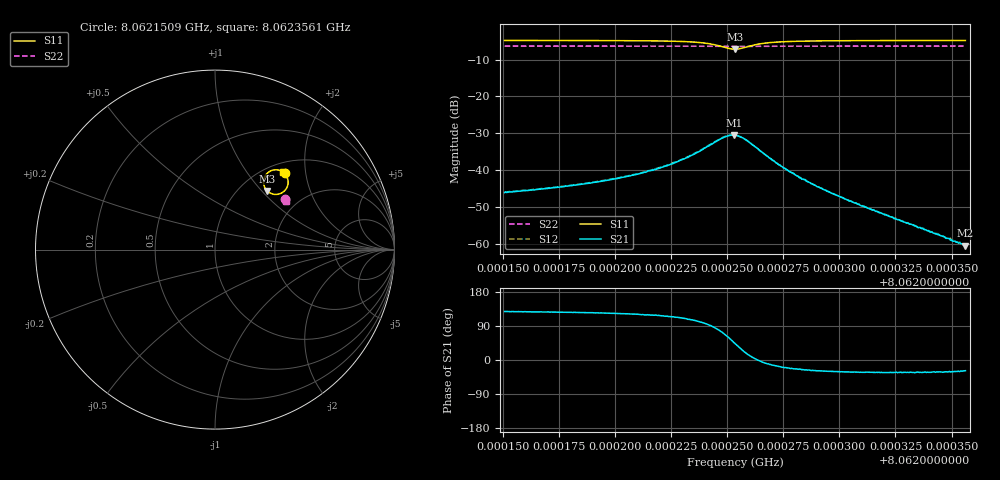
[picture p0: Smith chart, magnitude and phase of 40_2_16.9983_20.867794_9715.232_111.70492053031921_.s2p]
#  HZ  S  RI  R  50.00
! Rohde & Schwarz Vector Network Analyzer
! Rohde-Schwarz,ZNB20-2Port,1311601062101988,3.16
! Created: UTC 3/20/2024, 10:53:51 PM
! freq[Hz]  re:S11  im:S11  re:S21  im:S21  re:S12  im:S12  re:S22  im:S22
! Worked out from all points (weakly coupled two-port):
!   401 points, 8.0621509 GHz to 8.0623561 GHz, reference 50 ohm
!   highest |S21| = -30.51 dB at 8.062253 GHz (marker M1); lowest = -60.5 dB at 8.0623561 GHz (marker M2)
!   lowest |S11| = -7.2 dB at 8.0622535 GHz (marker M3), VSWR 2.56, Z = 66.5 + j53.6 ohm
!   |S11| at or under -10 dB: nowhere
!   |S22| runs from -6.5 to -6.3 dB; largest |S21 - S12| = 0.0025
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8.06215087e9  0.3885 0.4242  -0.00304 0.0039  -0.00285 0.00415  0.3908 0.2822
8.06216216e9  0.3904 0.4221  -0.00324 0.00423  -0.00301 0.00444  0.3912 0.2815
8.06218525e9  0.3945 0.4168  -0.00371 0.00525  -0.00344 0.00554  0.392 0.2801
8.06220475e9  0.3995 0.4086  -0.00431 0.00688  -0.00395 0.00723  0.3928 0.2788
8.06221964e9  0.4046 0.3966  -0.00492 0.00927  -0.00438 0.00987  0.3932 0.2776
8.06222374e9  0.4059 0.3911  -0.00486 0.0106  -0.00429 0.011  0.3932 0.2771
8.06223195e9  0.4076 0.3751  -0.00475 0.0139  -0.00392 0.0144  0.3934 0.276
8.0622417e9  0.3963 0.3385  -0.00115 0.0211  0.000347 0.0216  0.3927 0.2742
8.06224889e9  0.346 0.3078  0.0106 0.026  0.0128 0.0255  0.3902 0.2735
8.06225299e9  0.2971 0.3218  0.0206 0.0215  0.0222 0.02  0.3887 0.2746
8.06225351e9  0.2917 0.3263  0.0216 0.0205  0.0232 0.0187  0.3884 0.2748
8.06225556e9  0.2762 0.3482  0.024 0.0152  0.0253 0.0134  0.3882 0.2758
8.06225813e9  0.2703 0.3784  0.0245 0.00874  0.025 0.00684  0.3887 0.2771
8.06226172e9  0.2797 0.4107  0.0215 0.00217  0.0216 0.000623  0.3897 0.2781
8.06226582e9  0.2979 0.431  0.0171 -0.00179  0.017 -0.00279  0.3909 0.2784
8.06227609e9  0.3316 0.4444  0.00979 -0.00354  0.00942 -0.00418  0.3927 0.278
8.06228327e9  0.3449 0.4446  0.00675 -0.00325  0.00677 -0.00376  0.3935 0.2775
8.06228789e9  0.3507 0.4438  0.00577 -0.00298  0.0056 -0.00333  0.3938 0.2771
8.06230329e9  0.3632 0.4402  0.00337 -0.00205  0.00328 -0.00229  0.3947 0.2762
8.06232228e9  0.3712 0.4368  0.00196 -0.00128  0.0019 -0.00141  0.3955 0.2748
8.06234434e9  0.377 0.4336  0.00113 -0.000683  0.00109 -0.000765  0.3964 0.2739
8.06235615e9  0.379 0.4321  0.000828 -0.000443  0.000776 -0.000505  0.3969 0.2731
